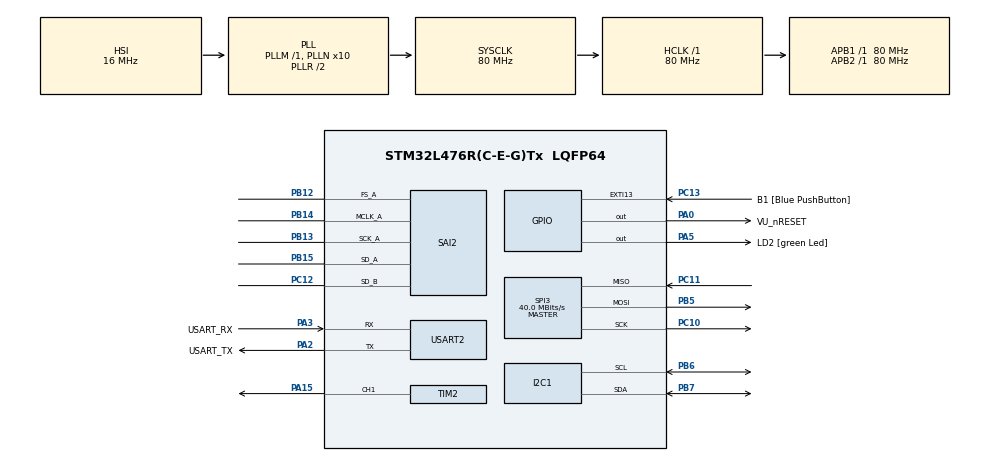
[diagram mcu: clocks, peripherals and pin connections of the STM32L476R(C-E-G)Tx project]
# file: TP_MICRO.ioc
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Dma.Request0=SAI2_A
Dma.Request1=SAI2_B
Dma.SAI2_A.0.Direction=DMA_MEMORY_TO_PERIPH
Dma.SAI2_A.0.Instance=DMA1_Channel6
Dma.SAI2_A.0.MemDataAlignment=DMA_MDATAALIGN_HALFWORD
Dma.SAI2_A.0.MemInc=DMA_MINC_ENABLE
Dma.SAI2_A.0.Mode=DMA_CIRCULAR
Dma.SAI2_A.0.PeriphDataAlignment=DMA_PDATAALIGN_HALFWORD
Dma.SAI2_A.0.PeriphInc=DMA_PINC_DISABLE
Dma.SAI2_A.0.Priority=DMA_PRIORITY_MEDIUM
Dma.SAI2_B.1.Direction=DMA_PERIPH_TO_MEMORY
Dma.SAI2_B.1.Instance=DMA1_Channel7
Dma.SAI2_B.1.MemDataAlignment=DMA_MDATAALIGN_HALFWORD
Dma.SAI2_B.1.MemInc=DMA_MINC_ENABLE
Dma.SAI2_B.1.Mode=DMA_CIRCULAR
Dma.SAI2_B.1.PeriphDataAlignment=DMA_PDATAALIGN_HALFWORD
Dma.SAI2_B.1.PeriphInc=DMA_PINC_DISABLE
Dma.SAI2_B.1.Priority=DMA_PRIORITY_MEDIUM
I2C1.Timing=0x10D19CE4
Mcu.Family=STM32L4
Mcu.Name=STM32L476R(C-E-G)Tx
Mcu.Package=LQFP64
NVIC.DMA1_Channel6_IRQn=true\:0\:0\:false\:false\:true\:false\:true\:true
NVIC.DMA1_Channel7_IRQn=true\:0\:0\:false\:false\:true\:false\:true\:true
NVIC.PriorityGroup=NVIC_PRIORITYGROUP_4
NVIC.SAI2_IRQn=true\:0\:0\:false\:false\:true\:true\:true\:true
PA0.GPIO_Label=VU_nRESET
PA0.Signal=GPIO_Output
PA13\ (JTMS-SWDIO).GPIO_Label=TMS
PA13\ (JTMS-SWDIO).Mode=Serial_Wire
PA13\ (JTMS-SWDIO).Signal=SYS_JTMS-SWDIO
PA14\ (JTCK-SWCLK).GPIO_Label=TCK
PA14\ (JTCK-SWCLK).Mode=Serial_Wire
PA14\ (JTCK-SWCLK).Signal=SYS_JTCK-SWCLK
PA15\ (JTDI).Signal=S_TIM2_CH1
PA2.GPIO_Label=USART_TX
PA2.GPIO_Mode=GPIO_MODE_AF_PP
PA2.GPIO_PuPd=GPIO_NOPULL
PA2.GPIO_Speed=GPIO_SPEED_FREQ_VERY_HIGH
PA2.Mode=Asynchronous
PA2.Signal=USART2_TX
PA3.GPIO_Label=USART_RX
PA3.GPIO_Mode=GPIO_MODE_AF_PP
PA3.GPIO_PuPd=GPIO_NOPULL
PA3.GPIO_Speed=GPIO_SPEED_FREQ_VERY_HIGH
PA3.Mode=Asynchronous
PA3.Signal=USART2_RX
PA5.GPIO_Label=LD2 [green Led]
PA5.GPIO_ModeDefaultOutputPP=GPIO_MODE_OUTPUT_PP
PA5.GPIO_PuPd=GPIO_NOPULL
PA5.GPIO_Speed=GPIO_SPEED_FREQ_LOW
PA5.Signal=GPIO_Output
PB12.Mode=SAI_A_MasterWithClock
PB12.Signal=SAI2_FS_A
PB13.Mode=SAI_A_MasterWithClock
PB13.Signal=SAI2_SCK_A
PB14.Mode=SAI_A_MasterWithClock
PB14.Signal=SAI2_MCLK_A
PB15.Mode=SAI_A_MasterWithClock
PB15.Signal=SAI2_SD_A
PB3\ (JTDO-TRACESWO).GPIO_Label=SWO
PB3\ (JTDO-TRACESWO).Signal=SYS_JTDO-SWO
PB5.Mode=Full_Duplex_Master
PB5.Signal=SPI3_MOSI
PB6.Mode=I2C
PB6.Signal=I2C1_SCL
PB7.Mode=I2C
PB7.Signal=I2C1_SDA
PC10.Mode=Full_Duplex_Master
PC10.Signal=SPI3_SCK
PC11.Mode=Full_Duplex_Master
PC11.Signal=SPI3_MISO
PC12.Mode=SAI_B_SyncSlave
PC12.Signal=SAI2_SD_B
PC13.GPIO_Label=B1 [Blue PushButton]
PC13.GPIO_ModeDefaultEXTI=GPIO_MODE_IT_FALLING
PC13.GPIO_PuPd=GPIO_NOPULL
PC13.Signal=GPXTI13
PC14-OSC32_IN\ (PC14).Mode=LSE-External-Oscillator
PC14-OSC32_IN\ (PC14).Signal=RCC_OSC32_IN
PC15-OSC32_OUT\ (PC15).Mode=LSE-External-Oscillator
PC15-OSC32_OUT\ (PC15).Signal=RCC_OSC32_OUT
PH0-OSC_IN\ (PH0).Signal=RCC_OSC_IN
PH1-OSC_OUT\ (PH1).Signal=RCC_OSC_OUT
ProjectManager.HeapSize=0x200
ProjectManager.StackSize=0x400
ProjectManager.TargetToolchain=STM32CubeIDE
RCC.ADCFreq_Value=104000000
RCC.AHBFreq_Value=80000000
RCC.APB1Freq_Value=80000000
RCC.APB1TimFreq_Value=80000000
RCC.APB2Freq_Value=80000000
RCC.APB2TimFreq_Value=80000000
RCC.CortexFreq_Value=80000000
RCC.HCLKFreq_Value=80000000
RCC.HSE_VALUE=8000000
RCC.HSI_VALUE=16000000
RCC.MSI_VALUE=4000000
RCC.PLLN=10
RCC.PLLSAI1N=13
RCC.PLLSAI1P=RCC_PLLP_DIV17
RCC.PLLSourceVirtual=RCC_PLLSOURCE_HSI
RCC.PREFETCH_ENABLE=1
RCC.SYSCLKFreq_VALUE=80000000
RCC.SYSCLKSource=RCC_SYSCLKSOURCE_PLLCLK
RCC.USBFreq_Value=104000000
RCC.VCOOutputFreq_Value=160000000
SAI2.AudioFrequency-SAI_A_MasterWithClock=SAI_AUDIO_FREQUENCY_48K
SAI2.ErrorAudioFreq-SAI_A_MasterWithClock=-0.42 %
SAI2.InitProtocol-SAI_A_MasterWithClock=Enable
SAI2.InitProtocol-SAI_B_SyncSlave=Enable
SAI2.Instance-SAI_A_MasterWithClock=SAI$Index_Block_A
SAI2.Instance-SAI_B_SyncSlave=SAI$Index_Block_B
SAI2.MClockEnable-SAI_A_MasterWithClock=SAI_MASTERCLOCK_ENABLE
SAI2.RealAudioFreq-SAI_A_MasterWithClock=47.794 KHz
SAI2.VirtualMode-SAI_A_MasterWithClock=VM_MASTER
SAI2.VirtualMode-SAI_B_SyncSlave=VM_SLAVE
SAI2.VirtualProtocol-SAI_A_BASIC=VM_BASIC_PROTOCOL
SAI2.VirtualProtocol-SAI_B_BASIC=VM_BASIC_PROTOCOL
SH.S_TIM2_CH1.0=TIM2_CH1,PWM Generation1 CH1
SPI3.CalculateBaudRate=40.0 MBits/s
SPI3.Direction=SPI_DIRECTION_2LINES
SPI3.Mode=SPI_MODE_MASTER
SPI3.VirtualType=VM_MASTER
TIM2.Channel-PWM\ Generation1\ CH1=TIM_CHANNEL_1
USART2.VirtualMode-Asynchronous=VM_ASYNC
VP_SAI2_VP_$IpInstance_SAIA_SAI_BASIC.Mode=SAI_A_BASIC
VP_SAI2_VP_$IpInstance_SAIB_SAI_BASIC.Mode=SAI_B_BASIC
board=NUCLEO-L476RG

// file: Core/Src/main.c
/* USER CODE BEGIN Header */
/**
  ******************************************************************************
  * @file           : main.c
  * @brief          : Main program body
  ******************************************************************************
  * @attention
  *
  * Copyright (c) 2025 STMicroelectronics.
  * All rights reserved.
  *
  * This software is licensed under terms that can be found in the LICENSE file
  * in the root directory of this software component.
  * If no LICENSE file comes with this software, it is provided AS-IS.
  *
  ******************************************************************************
  */
/* USER CODE END Header */
#include "main.h"
#include "stdio.h"

/* USER CODE BEGIN Includes */
#include "MCP23S17.h"
extern SPI_HandleTypeDef hspi3;  // SPI3

/* USER CODE END Includes */

/* USER CODE BEGIN PD */
=======

/* Private includes ----------------------------------------------------------*/
/* USER CODE BEGIN Includes */
>>>>>>> 11a6642a471301b46d36d71e8211aff4d04192d5
#define MCP23S17_ADDRESS   0x40  // Adresse SPI du MCP23S17 (A0, A1, A2 = GND)
#define MCP23S17_IODIRA    0x00  // Registre direction PORTA
#define MCP23S17_IODIRB    0x01  // Registre direction PORTB
#define MCP23S17_GPIOA     0x12  // Registre des données PORTA
#define MCP23S17_GPIOB     0x13  // Registre des données PORTB
#define MCP23S17_IOCON     0x0A  // Registre de configuration

<<<<<<< HEAD
=======

extern SPI_HandleTypeDef hspi3;  // SPI3

/* USER CODE END Includes */

/* Private typedef -----------------------------------------------------------*/
/* USER CODE BEGIN PTD */

/* USER CODE END PTD */

/* Private define ------------------------------------------------------------*/
/* USER CODE BEGIN PD */

>>>>>>> 11a6642a471301b46d36d71e8211aff4d04192d5
/* USER CODE END PD */

/* USER CODE BEGIN PM */

<<<<<<< HEAD
/* USER CODE END PM */

I2C_HandleTypeDef hi2c1;

SAI_HandleTypeDef hsai_BlockA2;
SAI_HandleTypeDef hsai_BlockB2;
DMA_HandleTypeDef hdma_sai2_a;
DMA_HandleTypeDef hdma_sai2_b;

SPI_HandleTypeDef hspi3;

TIM_HandleTypeDef htim2;

=======

/* USER CODE END PM */

SPI_HandleTypeDef hspi3;

>>>>>>> 11a6642a471301b46d36d71e8211aff4d04192d5
UART_HandleTypeDef huart2;

/* USER CODE BEGIN PV */

<<<<<<< HEAD
=======

>>>>>>> 11a6642a471301b46d36d71e8211aff4d04192d5
/* USER CODE END PV */

void SystemClock_Config(void);
<<<<<<< HEAD
void PeriphCommonClock_Config(void);
static void MX_GPIO_Init(void);
static void MX_DMA_Init(void);
static void MX_USART2_UART_Init(void);
static void MX_SPI3_Init(void);
static void MX_TIM2_Init(void);
static void MX_I2C1_Init(void);
static void MX_SAI2_Init(void);
/* USER CODE BEGIN PFP */

=======
static void MX_GPIO_Init(void);
static void MX_USART2_UART_Init(void);
static void MX_SPI3_Init(void);
void MCP23S17_WriteRegister(uint8_t reg, uint8_t value);
/* USER CODE BEGIN PFP */

>>>>>>> 11a6642a471301b46d36d71e8211aff4d04192d5
/* USER CODE END PFP */

/* USER CODE BEGIN 0 */

<<<<<<< HEAD
=======
int __io_putchar(int chr)
{
 HAL_UART_Transmit(&huart2, (uint8_t*)&chr, 1, HAL_MAX_DELAY);
 return chr;
}

// Fonction d'envoi SPI au MCP23S17
void MCP23S17_WriteRegister(uint8_t reg, uint8_t value) {
    uint8_t data[3];
    data[0] = MCP23S17_ADDRESS; // Adresse + bit d'écriture
    data[1] = reg;   // Registre cible
    data[2] = value; // Valeur à écrire

    HAL_GPIO_WritePin(GPIOB, GPIO_PIN_7, GPIO_PIN_RESET); // Activer CS
    HAL_SPI_Transmit(&hspi3, data, 3, HAL_MAX_DELAY); // Transmettre SPI
    HAL_GPIO_WritePin(GPIOB, GPIO_PIN_7, GPIO_PIN_SET);   // Désactiver CS
}

>>>>>>> 11a6642a471301b46d36d71e8211aff4d04192d5
/* USER CODE END 0 */

int main(void)
{

  /* USER CODE BEGIN 1 */

<<<<<<< HEAD
=======

>>>>>>> 11a6642a471301b46d36d71e8211aff4d04192d5
  /* USER CODE END 1 */

  /* MCU Configuration--------------------------------------------------------*/

  /* Reset of all peripherals, Initializes the Flash interface and the Systick. */
  HAL_Init();

  /* USER CODE BEGIN Init */

<<<<<<< HEAD
=======

>>>>>>> 11a6642a471301b46d36d71e8211aff4d04192d5
  /* USER CODE END Init */

  /* Configure the system clock */
  SystemClock_Config();

<<<<<<< HEAD
  /* Configure the peripherals common clocks */
  PeriphCommonClock_Config();

  /* USER CODE BEGIN SysInit */

=======
  /* USER CODE BEGIN SysInit */

>>>>>>> 11a6642a471301b46d36d71e8211aff4d04192d5
  /* USER CODE END SysInit */

  /* Initialize all configured peripherals */
  MX_GPIO_Init();
<<<<<<< HEAD
  MX_DMA_Init();
  MX_USART2_UART_Init();
  MX_SPI3_Init();
  MX_TIM2_Init();
  MX_I2C1_Init();
  MX_SAI2_Init();
  /* USER CODE BEGIN 2 */
  __HAL_SAI_ENABLE(&hsai_BlockA2);

    printf("\r\n==== Systeme micro ====\r\n");

    // RESET du MCP23S17 via PA0
=======
  MX_USART2_UART_Init();
  MX_SPI3_Init();
  /* USER CODE BEGIN 2 */

  printf("\r\n==== Systeme micro ====\r\n");

  // RESET du MCP23S17 via PA0
>>>>>>> 11a6642a471301b46d36d71e8211aff4d04192d5
    HAL_GPIO_WritePin(GPIOA, GPIO_PIN_0, GPIO_PIN_RESET);
    HAL_Delay(10);
    HAL_GPIO_WritePin(GPIOA, GPIO_PIN_0, GPIO_PIN_SET);
    HAL_Delay(10);

    // Initialisation du MCP23S17
    MCP23S17_WriteRegister(MCP23S17_IOCON, 0x08);  // Mode SPI hardware
    MCP23S17_WriteRegister(MCP23S17_IODIRA, 0x00); // PORTA en sortie (0 = output)
    MCP23S17_WriteRegister(MCP23S17_GPIOA, 0x00);  // Éteindre toutes les LEDs

  /* USER CODE END 2 */

  /* Infinite loop */
  /* USER CODE BEGIN WHILE */
<<<<<<< HEAD
  while (1)
  {
    /* USER CODE END WHILE */

  }
}
=======

  while (1) {

      for (uint8_t i = 0; i < 8; i++) {

          MCP23S17_WriteRegister(MCP23S17_GPIOA, (1 << i)); // Allumer une LED

          HAL_Delay(200); // Pause pour l'effet chenillard

      }

  }

  /* USER CODE END 3 */
}

>>>>>>> 11a6642a471301b46d36d71e8211aff4d04192d5
void SystemClock_Config(void)
{
  RCC_OscInitTypeDef RCC_OscInitStruct = {0};
  RCC_ClkInitTypeDef RCC_ClkInitStruct = {0};

  /** Configure the main internal regulator output voltage
  */
  if (HAL_PWREx_ControlVoltageScaling(PWR_REGULATOR_VOLTAGE_SCALE1) != HAL_OK)
  {
    Error_Handler();
  }

  /** Initializes the RCC Oscillators according to the specified parameters
  * in the RCC_OscInitTypeDef structure.
  */
  RCC_OscInitStruct.OscillatorType = RCC_OSCILLATORTYPE_HSI;
  RCC_OscInitStruct.HSIState = RCC_HSI_ON;
  RCC_OscInitStruct.HSICalibrationValue = RCC_HSICALIBRATION_DEFAULT;
  RCC_OscInitStruct.PLL.PLLState = RCC_PLL_ON;
  RCC_OscInitStruct.PLL.PLLSource = RCC_PLLSOURCE_HSI;
  RCC_OscInitStruct.PLL.PLLM = 1;
  RCC_OscInitStruct.PLL.PLLN = 10;
  RCC_OscInitStruct.PLL.PLLP = RCC_PLLP_DIV7;
  RCC_OscInitStruct.PLL.PLLQ = RCC_PLLQ_DIV2;
  RCC_OscInitStruct.PLL.PLLR = RCC_PLLR_DIV2;
  if (HAL_RCC_OscConfig(&RCC_OscInitStruct) != HAL_OK)
  {
    Error_Handler();
  }

  /** Initializes the CPU, AHB and APB buses clocks
  */
  RCC_ClkInitStruct.ClockType = RCC_CLOCKTYPE_HCLK|RCC_CLOCKTYPE_SYSCLK
                              |RCC_CLOCKTYPE_PCLK1|RCC_CLOCKTYPE_PCLK2;
  RCC_ClkInitStruct.SYSCLKSource = RCC_SYSCLKSOURCE_PLLCLK;
  RCC_ClkInitStruct.AHBCLKDivider = RCC_SYSCLK_DIV1;
  RCC_ClkInitStruct.APB1CLKDivider = RCC_HCLK_DIV1;
  RCC_ClkInitStruct.APB2CLKDivider = RCC_HCLK_DIV1;

  if (HAL_RCC_ClockConfig(&RCC_ClkInitStruct, FLASH_LATENCY_4) != HAL_OK)
  {
    Error_Handler();
  }
}

void PeriphCommonClock_Config(void)
{
  RCC_PeriphCLKInitTypeDef PeriphClkInit = {0};

  /** Initializes the peripherals clock
  */
  PeriphClkInit.PeriphClockSelection = RCC_PERIPHCLK_SAI2;
  PeriphClkInit.Sai2ClockSelection = RCC_SAI2CLKSOURCE_PLLSAI1;
  PeriphClkInit.PLLSAI1.PLLSAI1Source = RCC_PLLSOURCE_HSI;
  PeriphClkInit.PLLSAI1.PLLSAI1M = 1;
  PeriphClkInit.PLLSAI1.PLLSAI1N = 13;
  PeriphClkInit.PLLSAI1.PLLSAI1P = RCC_PLLP_DIV17;
  PeriphClkInit.PLLSAI1.PLLSAI1Q = RCC_PLLQ_DIV2;
  PeriphClkInit.PLLSAI1.PLLSAI1R = RCC_PLLR_DIV2;
  PeriphClkInit.PLLSAI1.PLLSAI1ClockOut = RCC_PLLSAI1_SAI1CLK;
  if (HAL_RCCEx_PeriphCLKConfig(&PeriphClkInit) != HAL_OK)
  {
    Error_Handler();
  }
}

static void MX_I2C1_Init(void)
{

  hi2c1.Instance = I2C1;
  hi2c1.Init.Timing = 0x10D19CE4;
  hi2c1.Init.OwnAddress1 = 0;
  hi2c1.Init.AddressingMode = I2C_ADDRESSINGMODE_7BIT;
  hi2c1.Init.DualAddressMode = I2C_DUALADDRESS_DISABLE;
  hi2c1.Init.OwnAddress2 = 0;
  hi2c1.Init.OwnAddress2Masks = I2C_OA2_NOMASK;
  hi2c1.Init.GeneralCallMode = I2C_GENERALCALL_DISABLE;
  hi2c1.Init.NoStretchMode = I2C_NOSTRETCH_DISABLE;
  if (HAL_I2C_Init(&hi2c1) != HAL_OK)
  {
    Error_Handler();
  }

  /** Configure Analogue filter
  */
  if (HAL_I2CEx_ConfigAnalogFilter(&hi2c1, I2C_ANALOGFILTER_ENABLE) != HAL_OK)
  {
    Error_Handler();
  }

  /** Configure Digital filter
  */
  if (HAL_I2CEx_ConfigDigitalFilter(&hi2c1, 0) != HAL_OK)
  {
    Error_Handler();
  }

}

static void MX_SAI2_Init(void)
{

  hsai_BlockA2.Instance = SAI2_Block_A;
  hsai_BlockA2.Init.AudioMode = SAI_MODEMASTER_TX;
  hsai_BlockA2.Init.Synchro = SAI_ASYNCHRONOUS;
  hsai_BlockA2.Init.OutputDrive = SAI_OUTPUTDRIVE_DISABLE;
  hsai_BlockA2.Init.NoDivider = SAI_MASTERDIVIDER_ENABLE;
  hsai_BlockA2.Init.FIFOThreshold = SAI_FIFOTHRESHOLD_EMPTY;
  hsai_BlockA2.Init.AudioFrequency = SAI_AUDIO_FREQUENCY_48K;
  hsai_BlockA2.Init.SynchroExt = SAI_SYNCEXT_DISABLE;
  hsai_BlockA2.Init.MonoStereoMode = SAI_STEREOMODE;
  hsai_BlockA2.Init.CompandingMode = SAI_NOCOMPANDING;
  hsai_BlockA2.Init.TriState = SAI_OUTPUT_NOTRELEASED;
  if (HAL_SAI_InitProtocol(&hsai_BlockA2, SAI_I2S_STANDARD, SAI_PROTOCOL_DATASIZE_16BIT, 2) != HAL_OK)
  {
    Error_Handler();
  }
  hsai_BlockB2.Instance = SAI2_Block_B;
  hsai_BlockB2.Init.AudioMode = SAI_MODESLAVE_RX;
  hsai_BlockB2.Init.Synchro = SAI_SYNCHRONOUS;
  hsai_BlockB2.Init.OutputDrive = SAI_OUTPUTDRIVE_DISABLE;
  hsai_BlockB2.Init.FIFOThreshold = SAI_FIFOTHRESHOLD_EMPTY;
  hsai_BlockB2.Init.SynchroExt = SAI_SYNCEXT_DISABLE;
  hsai_BlockB2.Init.MonoStereoMode = SAI_STEREOMODE;
  hsai_BlockB2.Init.CompandingMode = SAI_NOCOMPANDING;
  hsai_BlockB2.Init.TriState = SAI_OUTPUT_NOTRELEASED;
  if (HAL_SAI_InitProtocol(&hsai_BlockB2, SAI_I2S_STANDARD, SAI_PROTOCOL_DATASIZE_16BIT, 2) != HAL_OK)
  {
    Error_Handler();
  }

}

static void MX_SPI3_Init(void)
{

  /* SPI3 parameter configuration*/
  hspi3.Instance = SPI3;
  hspi3.Init.Mode = SPI_MODE_MASTER;
  hspi3.Init.Direction = SPI_DIRECTION_2LINES;
<<<<<<< HEAD
  hspi3.Init.DataSize = SPI_DATASIZE_4BIT;
  hspi3.Init.CLKPolarity = SPI_POLARITY_LOW;
  hspi3.Init.CLKPhase = SPI_PHASE_1EDGE;
  hspi3.Init.NSS = SPI_NSS_SOFT;
  hspi3.Init.BaudRatePrescaler = SPI_BAUDRATEPRESCALER_2;
=======
  hspi3.Init.DataSize = SPI_DATASIZE_8BIT;
  hspi3.Init.CLKPolarity = SPI_POLARITY_LOW;
  hspi3.Init.CLKPhase = SPI_PHASE_1EDGE;
  hspi3.Init.NSS = SPI_NSS_SOFT;
  hspi3.Init.BaudRatePrescaler = SPI_BAUDRATEPRESCALER_64;
>>>>>>> 11a6642a471301b46d36d71e8211aff4d04192d5
  hspi3.Init.FirstBit = SPI_FIRSTBIT_MSB;
  hspi3.Init.TIMode = SPI_TIMODE_DISABLE;
  hspi3.Init.CRCCalculation = SPI_CRCCALCULATION_DISABLE;
  hspi3.Init.CRCPolynomial = 7;
  hspi3.Init.CRCLength = SPI_CRC_LENGTH_DATASIZE;
  hspi3.Init.NSSPMode = SPI_NSS_PULSE_ENABLE;
  if (HAL_SPI_Init(&hspi3) != HAL_OK)
  {
    Error_Handler();
  }

}

static void MX_TIM2_Init(void)
{

  TIM_MasterConfigTypeDef sMasterConfig = {0};
  TIM_OC_InitTypeDef sConfigOC = {0};

  htim2.Instance = TIM2;
  htim2.Init.Prescaler = 0;
  htim2.Init.CounterMode = TIM_COUNTERMODE_UP;
  htim2.Init.Period = 4294967295;
  htim2.Init.ClockDivision = TIM_CLOCKDIVISION_DIV1;
  htim2.Init.AutoReloadPreload = TIM_AUTORELOAD_PRELOAD_DISABLE;
  if (HAL_TIM_PWM_Init(&htim2) != HAL_OK)
  {
    Error_Handler();
  }
  sMasterConfig.MasterOutputTrigger = TIM_TRGO_RESET;
  sMasterConfig.MasterSlaveMode = TIM_MASTERSLAVEMODE_DISABLE;
  if (HAL_TIMEx_MasterConfigSynchronization(&htim2, &sMasterConfig) != HAL_OK)
  {
    Error_Handler();
  }
  sConfigOC.OCMode = TIM_OCMODE_PWM1;
  sConfigOC.Pulse = 0;
  sConfigOC.OCPolarity = TIM_OCPOLARITY_HIGH;
  sConfigOC.OCFastMode = TIM_OCFAST_DISABLE;
  if (HAL_TIM_PWM_ConfigChannel(&htim2, &sConfigOC, TIM_CHANNEL_1) != HAL_OK)
  {
    Error_Handler();
  }
  HAL_TIM_MspPostInit(&htim2);

}

static void MX_USART2_UART_Init(void)
{

  /* USER CODE BEGIN USART2_Init 0 */

<<<<<<< HEAD
=======

>>>>>>> 11a6642a471301b46d36d71e8211aff4d04192d5
  /* USER CODE END USART2_Init 0 */

  /* USER CODE BEGIN USART2_Init 1 */

<<<<<<< HEAD
=======

>>>>>>> 11a6642a471301b46d36d71e8211aff4d04192d5
  /* USER CODE END USART2_Init 1 */
  huart2.Instance = USART2;
  huart2.Init.BaudRate = 115200;
  huart2.Init.WordLength = UART_WORDLENGTH_8B;
  huart2.Init.StopBits = UART_STOPBITS_1;
  huart2.Init.Parity = UART_PARITY_NONE;
  huart2.Init.Mode = UART_MODE_TX_RX;
  huart2.Init.HwFlowCtl = UART_HWCONTROL_NONE;
  huart2.Init.OverSampling = UART_OVERSAMPLING_16;
  huart2.Init.OneBitSampling = UART_ONE_BIT_SAMPLE_DISABLE;
  huart2.AdvancedInit.AdvFeatureInit = UART_ADVFEATURE_NO_INIT;
  if (HAL_UART_Init(&huart2) != HAL_OK)
  {
    Error_Handler();
  }
  /* USER CODE BEGIN USART2_Init 2 */

<<<<<<< HEAD
=======

>>>>>>> 11a6642a471301b46d36d71e8211aff4d04192d5
  /* USER CODE END USART2_Init 2 */

}

static void MX_DMA_Init(void)
{

  /* DMA controller clock enable */
  __HAL_RCC_DMA1_CLK_ENABLE();

  /* DMA interrupt init */
  /* DMA1_Channel6_IRQn interrupt configuration */
  HAL_NVIC_SetPriority(DMA1_Channel6_IRQn, 0, 0);
  HAL_NVIC_EnableIRQ(DMA1_Channel6_IRQn);
  /* DMA1_Channel7_IRQn interrupt configuration */
  HAL_NVIC_SetPriority(DMA1_Channel7_IRQn, 0, 0);
  HAL_NVIC_EnableIRQ(DMA1_Channel7_IRQn);

}

static void MX_GPIO_Init(void)
{
  GPIO_InitTypeDef GPIO_InitStruct = {0};
/* USER CODE BEGIN MX_GPIO_Init_1 */
<<<<<<< HEAD
=======

>>>>>>> 11a6642a471301b46d36d71e8211aff4d04192d5
/* USER CODE END MX_GPIO_Init_1 */

  /* GPIO Ports Clock Enable */
  __HAL_RCC_GPIOC_CLK_ENABLE();
  __HAL_RCC_GPIOH_CLK_ENABLE();
  __HAL_RCC_GPIOA_CLK_ENABLE();
  __HAL_RCC_GPIOB_CLK_ENABLE();

<<<<<<< HEAD
  /*Configure GPIO pin Output Level */
  HAL_GPIO_WritePin(GPIOA, VU_nRESET_Pin|LD2_Pin, GPIO_PIN_RESET);

=======

  /*Configure GPIO pin Output Level */
  HAL_GPIO_WritePin(GPIOA, VU_nRESET_Pin|LD2_Pin, GPIO_PIN_RESET);

  /*Configure GPIO pin Output Level */
  HAL_GPIO_WritePin(VU_nCS_GPIO_Port, VU_nCS_Pin, GPIO_PIN_RESET);

>>>>>>> 11a6642a471301b46d36d71e8211aff4d04192d5
  /*Configure GPIO pin : B1_Pin */
  GPIO_InitStruct.Pin = B1_Pin;
  GPIO_InitStruct.Mode = GPIO_MODE_IT_FALLING;
  GPIO_InitStruct.Pull = GPIO_NOPULL;
  HAL_GPIO_Init(B1_GPIO_Port, &GPIO_InitStruct);

  /*Configure GPIO pins : VU_nRESET_Pin LD2_Pin */
  GPIO_InitStruct.Pin = VU_nRESET_Pin|LD2_Pin;
  GPIO_InitStruct.Mode = GPIO_MODE_OUTPUT_PP;
  GPIO_InitStruct.Pull = GPIO_NOPULL;
  GPIO_InitStruct.Speed = GPIO_SPEED_FREQ_LOW;
  HAL_GPIO_Init(GPIOA, &GPIO_InitStruct);

<<<<<<< HEAD
}

void Error_Handler(void)
{
  __disable_irq();
  while (1)
  {
  }
}

=======
  /*Configure GPIO pin : VU_nCS_Pin */
  GPIO_InitStruct.Pin = VU_nCS_Pin;
  GPIO_InitStruct.Mode = GPIO_MODE_OUTPUT_PP;
  GPIO_InitStruct.Pull = GPIO_NOPULL;
  GPIO_InitStruct.Speed = GPIO_SPEED_FREQ_LOW;
  HAL_GPIO_Init(VU_nCS_GPIO_Port, &GPIO_InitStruct);

}

    /**
      * @brief  This function is executed in case of error occurrence.
      * @retval None
      */
    void Error_Handler(void) {
        __disable_irq();
        while (1) {
        }
    }

    #ifdef  USE_FULL_ASSERT
    /**
      * @brief  Reports the name of the source file and the source line number
      * where the assert_param error has occurred.
      * @param  file: pointer to the source file name
      * @param  line: assert_param error line source number
      * @retval None
      */
    void assert_failed(uint8_t *file, uint32_t line) {
    }
    #endif /* USE_FULL_ASSERT */
